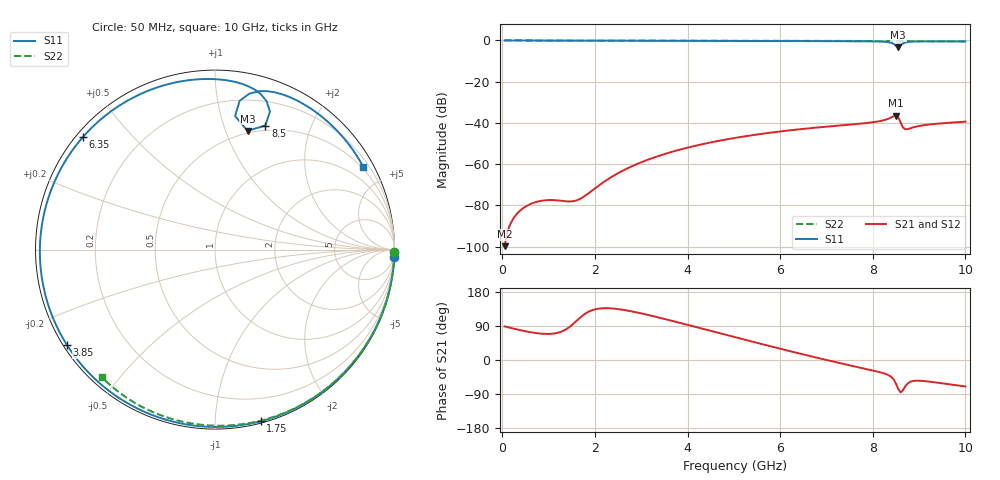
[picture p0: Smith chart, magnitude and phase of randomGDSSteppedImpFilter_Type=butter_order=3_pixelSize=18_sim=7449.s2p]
! freq	dB(S11)	phase(S11)	dB(S12)	phase(S12)
!  dB(S21)	phase(S21)	dB(S22)	phase(S22)
!S-par simulation data
#  GHz  S  DB  R 50
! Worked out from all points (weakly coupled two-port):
!   200 points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, 50 MHz to 10 GHz, reference 50 ohm
!   highest |S21| = -36.48 dB at 8.5 GHz (marker M1); lowest = -99.8 dB at 50 MHz (marker M2)
!   lowest |S11| = -3.3 dB at 8.55 GHz (marker M3), VSWR 5.37, Z = 23.9 + j59.7 ohm
!   |S11| at or under -10 dB: nowhere
!   |S22| runs from -0.4 to 0.0 dB; largest |S21 - S12| = 0
!   S11 on the Smith chart (normalised r, x): 50 MHz: 0, -50; 1.75 GHz: 0.01, -1.30; 3.85 GHz: 0.01, -0.29; 6.35 GHz: 0.02, +0.37; 8.5 GHz: 0.45, +1.39; 10 GHz: 0.43, +3.79
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0.05  -0.00 -2.3  -99.75 88.7  -99.75 88.7  -0.00 -0.8
0.55  -0.03 -24.7  -79.95 74.7  -79.95 74.7  -0.01 -8.3
0.95  -0.05 -42.2  -77.45 68.8  -77.45 68.8  -0.02 -14.4
1.5  -0.08 -65.2  -78.03 92.0  -78.03 92.0  -0.03 -22.6
1.75  -0.09 -75.1  -75.89 118.7  -75.89 118.7  -0.03 -26.2
2.55  -0.12 -104.9  -63.75 133.5  -63.75 133.5  -0.05 -37.9
3.4  -0.15 -133.3  -55.82 111.5  -55.82 111.5  -0.07 -50.0
3.85  -0.17 -147.3  -52.85 97.6  -52.85 97.6  -0.08 -56.2
4.45  -0.19 -165.3  -49.68 78.5  -49.68 78.5  -0.09 -64.4
5.05  -0.22 177.3  -47.17 59.4  -47.17 59.4  -0.11 -72.3
5.7  -0.25 158.5  -44.98 39.1  -44.98 39.1  -0.13 -80.7
6.35  -0.29 139.7  -43.23 19.2  -43.23 19.2  -0.16 -88.9
6.7  -0.31 129.3  -42.43 8.8  -42.43 8.8  -0.18 -93.2
7.65  -0.39 100.0  -40.52 -18.1  -40.52 -18.1  -0.24 -104.6
8.1  -0.51 84.5  -39.32 -30.5  -39.32 -30.5  -0.27 -109.9
8.35  -0.88 73.6  -37.85 -40.8  -37.85 -40.8  -0.29 -112.8
8.5  -2.55 67.9  -36.48 -62.0  -36.48 -62.0  -0.30 -114.6
8.55  -3.27 74.7  -37.26 -76.7  -37.26 -76.7  -0.30 -115.2
8.6  -2.47 81.4  -39.73 -85.4  -39.73 -85.4  -0.31 -115.7
8.7  -1.01 77.6  -43.05 -69.8  -43.05 -69.8  -0.32 -116.9
9.2  -0.45 55.7  -40.81 -56.8  -40.81 -56.8  -0.36 -122.6
10  -0.48 29.2  -39.37 -69.9  -39.37 -69.9  -0.44 -131.7
